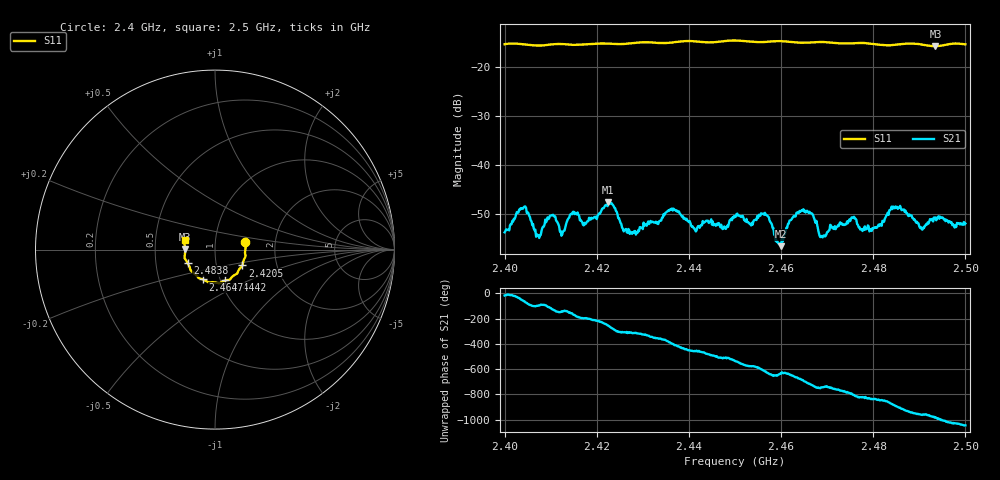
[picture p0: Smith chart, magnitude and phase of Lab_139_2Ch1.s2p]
# Hz S RI R 50
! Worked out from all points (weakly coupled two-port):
!   601 points, 2.4 GHz to 2.5 GHz, reference 50 ohm
!   highest |S21| = -47.60 dB at 2.4225 GHz (marker M1); lowest = -56.6 dB at 2.46 GHz (marker M2)
!   lowest |S11| = -15.6 dB at 2.4935 GHz (marker M3), VSWR 1.40, Z = 35.8 + j0.126 ohm
!   |S11| at or under -10 dB: start of sweep to end of sweep
!   S12 and S22 are empty: the file has one direction only
!   S11 on the Smith chart (normalised r, x): 2.4 GHz: 1.40, +0.11; 2.4205 GHz: 1.33, -0.24; 2.4442 GHz: 1.05, -0.37; 2.4647 GHz: 0.83, -0.29; 2.4838 GHz: 0.73, -0.11; 2.5 GHz: 0.71, +0.08
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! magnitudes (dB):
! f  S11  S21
! 2.4 GHz  -15.2  -53.8
! 2.404 GHz  -15.2  -48.9
! 2.4073 GHz  -15.5  -54.3
! 2.4102 GHz  -15.3  -50.3
! 2.4125 GHz  -15.2  -54.2
! 2.4147 GHz  -15.4  -50.1
! 2.4167 GHz  -15.3  -51.4
! 2.4205 GHz  -15.1  -49.9
! 2.4225 GHz  -15.1  -47.6
! 2.4262 GHz  -15.2  -53.2
! 2.4333 GHz  -15.0  -52.1
! 2.4442 GHz  -14.9  -51.4
! 2.45 GHz  -14.5  -50.7
! 2.4567 GHz  -14.8  -50.1
! 2.46 GHz  -14.6  -56.6
! 2.4647 GHz  -14.9  -49.3
! 2.4667 GHz  -14.9  -49.9
! 2.469 GHz  -14.8  -54.8
! 2.4833 GHz  -15.4  -50.2
! 2.4838 GHz  -15.4  -49.0
! 2.4935 GHz  -15.6  -50.7
! 2.5 GHz  -15.3  -52.0
